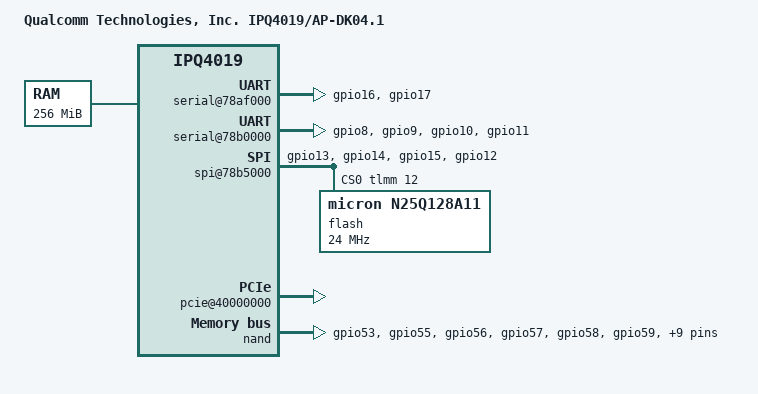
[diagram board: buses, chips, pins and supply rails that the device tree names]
// SPDX-License-Identifier: GPL-2.0
// Copyright (c) 2018, The Linux Foundation. All rights reserved.

#include "qcom-ipq4019.dtsi"
#include <dt-bindings/input/input.h>
#include <dt-bindings/gpio/gpio.h>

/ {
	model = "Qualcomm Technologies, Inc. IPQ4019/AP-DK04.1";

	aliases {
		serial0 = &blsp1_uart1;
		serial1 = &blsp1_uart2;
	};

	chosen {
		stdout-path = "serial0:115200n8";
	};

	memory {
		device_type = "memory";
		reg = <0x80000000 0x10000000>; /* 256MB */
	};

	soc {
		pinctrl@1000000 {
			serial_0_pins: serial0-state {
				pins = "gpio16", "gpio17";
				function = "blsp_uart0";
				bias-disable;
			};

			serial_1_pins: serial1-state {
				pins = "gpio8", "gpio9",
					"gpio10", "gpio11";
				function = "blsp_uart1";
				bias-disable;
			};

			spi_0_pins: spi-0-state {
				spi0-pins {
					function = "blsp_spi0";
					pins = "gpio13", "gpio14", "gpio15";
					bias-disable;
				};
				spi0-cs-pins {
					function = "gpio";
					pins = "gpio12";
					bias-disable;
					output-high;
				};
			};

			i2c_0_pins: i2c-0-state {
				pins = "gpio20", "gpio21";
				function = "blsp_i2c0";
				bias-disable;
			};

			nand_pins: nand-state {
				pins = "gpio53", "gpio55", "gpio56",
					"gpio57", "gpio58", "gpio59",
					"gpio60", "gpio62", "gpio63",
					"gpio64", "gpio65", "gpio66",
					"gpio67", "gpio68", "gpio69";
				function = "qpic";
			};
		};

		serial@78af000 {
			pinctrl-0 = <&serial_0_pins>;
			pinctrl-names = "default";
			status = "okay";
		};

		serial@78b0000 {
			pinctrl-0 = <&serial_1_pins>;
			pinctrl-names = "default";
			status = "okay";
		};

		dma-controller@7884000 {
			status = "okay";
		};

		spi@78b5000 { /* BLSP1 QUP1 */
			pinctrl-0 = <&spi_0_pins>;
			pinctrl-names = "default";
			status = "okay";
			cs-gpios = <&tlmm 12 GPIO_ACTIVE_HIGH>;

			flash@0 {
				#address-cells = <1>;
				#size-cells = <1>;
				reg = <0>;
				compatible = "micron,n25q128a11", "jedec,spi-nor";
				spi-max-frequency = <24000000>;
			};
		};

		pcie@40000000 {
			status = "okay";
			perst-gpios = <&tlmm 38 GPIO_ACTIVE_LOW>;
		};
	};
};

&nand {
	pinctrl-0 = <&nand_pins>;
	pinctrl-names = "default";
};
